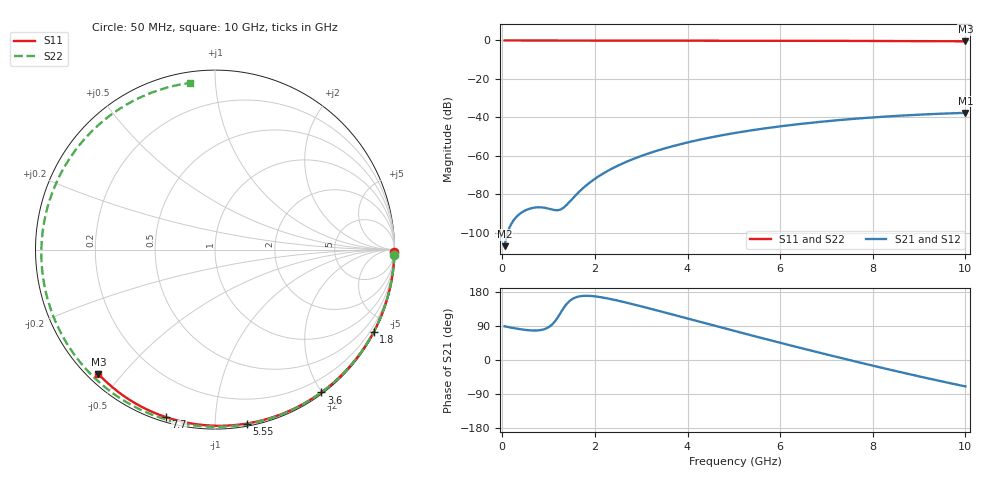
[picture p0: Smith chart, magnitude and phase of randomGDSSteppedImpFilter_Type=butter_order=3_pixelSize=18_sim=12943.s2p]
! freq	dB(S11)	phase(S11)	dB(S12)	phase(S12)
!  dB(S21)	phase(S21)	dB(S22)	phase(S22)
!S-par simulation data
#  GHz  S  DB  R 50
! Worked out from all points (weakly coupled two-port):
!   200 points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, 50 MHz to 10 GHz, reference 50 ohm
!   highest |S21| = -37.66 dB at 10 GHz (marker M1); lowest = -107.0 dB at 50 MHz (marker M2)
!   lowest |S11| = -0.4 dB at 10 GHz (marker M3), VSWR 38.90, Z = 1.53 - j21.7 ohm
!   |S11| at or under -10 dB: nowhere
!   |S22| runs from -0.5 to 0.0 dB; largest |S21 - S12| = 0
!   S11 on the Smith chart (normalised r, x): 50 MHz: open; 1.8 GHz: 0.04, -4.12; 3.6 GHz: 0.02, -1.99; 5.55 GHz: 0.02, -1.20; 7.7 GHz: 0.02, -0.75; 10 GHz: 0.03, -0.43
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0.05  -0.00 -0.8  -107.02 89.0  -107.02 89.0  -0.00 -1.7
0.4  -0.01 -6.1  -89.80 81.0  -89.80 81.0  -0.02 -13.6
0.75  -0.01 -11.5  -86.82 77.9  -86.82 77.9  -0.03 -25.4
1.2  -0.02 -18.3  -88.31 112.8  -88.31 112.8  -0.05 -40.2
1.6  -0.03 -24.3  -80.13 165.8  -80.13 165.8  -0.07 -53.0
1.75  -0.03 -26.5  -76.68 169.2  -76.68 169.2  -0.07 -57.6
1.8  -0.03 -27.3  -75.65 169.4  -75.65 169.4  -0.07 -59.2
2.1  -0.04 -31.7  -70.39 166.3  -70.39 166.3  -0.08 -68.3
2.45  -0.05 -36.9  -65.68 158.0  -65.68 158.0  -0.10 -78.6
2.9  -0.06 -43.4  -60.99 144.8  -60.99 144.8  -0.11 -91.4
3.4  -0.07 -50.5  -56.92 128.9  -56.92 128.9  -0.13 -104.9
3.6  -0.07 -53.3  -55.53 122.5  -55.53 122.5  -0.13 -110.1
4.35  -0.09 -63.7  -51.18 98.1  -51.18 98.1  -0.16 -128.9
5.05  -0.11 -73.1  -48.02 75.5  -48.02 75.5  -0.20 -145.5
5.55  -0.13 -79.7  -46.15 59.6  -46.15 59.6  -0.22 -157.0
6.1  -0.15 -86.7  -44.39 42.3  -44.39 42.3  -0.26 -169.4
6.7  -0.18 -94.2  -42.75 23.8  -42.75 23.8  -0.30 177.2
7.2  -0.21 -100.3  -41.58 8.7  -41.58 8.7  -0.33 166.0
7.7  -0.24 -106.4  -40.57 -6.2  -40.57 -6.2  -0.37 154.6
8.35  -0.29 -114.1  -39.48 -25.0  -39.48 -25.0  -0.42 139.5
9.2  -0.36 -123.9  -38.38 -48.7  -38.38 -48.7  -0.49 118.9
10  -0.45 -133.1  -37.66 -69.7  -37.66 -69.7  -0.55 98.7
